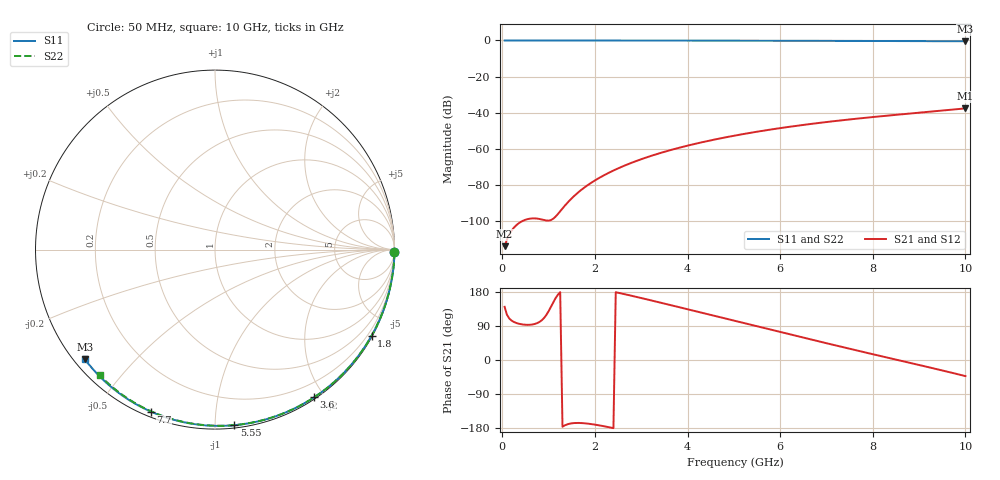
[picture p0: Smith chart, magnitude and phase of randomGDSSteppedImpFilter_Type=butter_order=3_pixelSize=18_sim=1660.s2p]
! freq	dB(S11)	phase(S11)	dB(S12)	phase(S12)
!  dB(S21)	phase(S21)	dB(S22)	phase(S22)
!S-par simulation data
#  GHz  S  DB  R 50
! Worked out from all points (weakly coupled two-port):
!   200 points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, 50 MHz to 10 GHz, reference 50 ohm
!   highest |S21| = -37.59 dB at 10 GHz (marker M1); lowest = -113.8 dB at 50 MHz (marker M2)
!   lowest |S11| = -0.5 dB at 10 GHz (marker M3), VSWR 37.65, Z = 1.51 - j18.3 ohm
!   |S11| at or under -10 dB: nowhere
!   |S22| runs from -0.5 to 0.0 dB; largest |S21 - S12| = 0
!   S11 on the Smith chart (normalised r, x): 50 MHz: open; 1.8 GHz: 0.03, -3.90; 3.6 GHz: 0.02, -1.87; 5.55 GHz: 0.02, -1.12; 7.7 GHz: 0.02, -0.68; 10 GHz: 0.03, -0.37
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0.05  -0.00 -0.8  -113.83 140.4  -113.83 140.4  -0.00 -0.8
0.45  -0.01 -7.3  -99.73 93.6  -99.73 93.6  -0.01 -6.9
0.9  -0.02 -14.5  -99.36 110.7  -99.36 110.7  -0.02 -13.7
1.75  -0.04 -28.0  -81.81 -166.7  -81.81 -166.7  -0.03 -26.5
1.8  -0.04 -28.8  -80.86 -167.3  -80.86 -167.3  -0.03 -27.2
1.85  -0.04 -29.6  -79.96 -168.0  -79.96 -168.0  -0.04 -27.9
2  -0.04 -31.9  -77.47 -170.5  -77.47 -170.5  -0.04 -30.2
2.15  -0.04 -34.2  -75.23 -173.7  -75.23 -173.7  -0.04 -32.4
2.35  -0.05 -37.3  -72.58 -178.6  -72.58 -178.6  -0.05 -35.3
2.55  -0.05 -40.4  -70.22 176.2  -70.22 176.2  -0.05 -38.2
2.95  -0.06 -46.5  -66.17 165.0  -66.17 165.0  -0.06 -44.0
3.4  -0.07 -53.2  -62.38 151.8  -62.38 151.8  -0.07 -50.4
3.6  -0.08 -56.1  -60.89 145.9  -60.89 145.9  -0.07 -53.2
4.3  -0.09 -66.3  -56.40 124.9  -56.40 124.9  -0.09 -62.8
5.05  -0.12 -76.8  -52.50 102.4  -52.50 102.4  -0.11 -72.9
5.55  -0.14 -83.7  -50.29 87.4  -50.29 87.4  -0.13 -79.4
6.1  -0.16 -91.0  -48.13 71.0  -48.13 71.0  -0.15 -86.4
6.7  -0.19 -98.9  -46.07 53.1  -46.07 53.1  -0.18 -93.8
7.7  -0.26 -111.6  -43.16 23.9  -43.16 23.9  -0.24 -105.9
8.35  -0.31 -119.7  -41.52 5.3  -41.52 5.3  -0.29 -113.6
9.2  -0.38 -130.1  -39.50 -18.9  -39.50 -18.9  -0.36 -123.4
10  -0.46 -139.8  -37.59 -42.5  -37.59 -42.5  -0.45 -132.5
